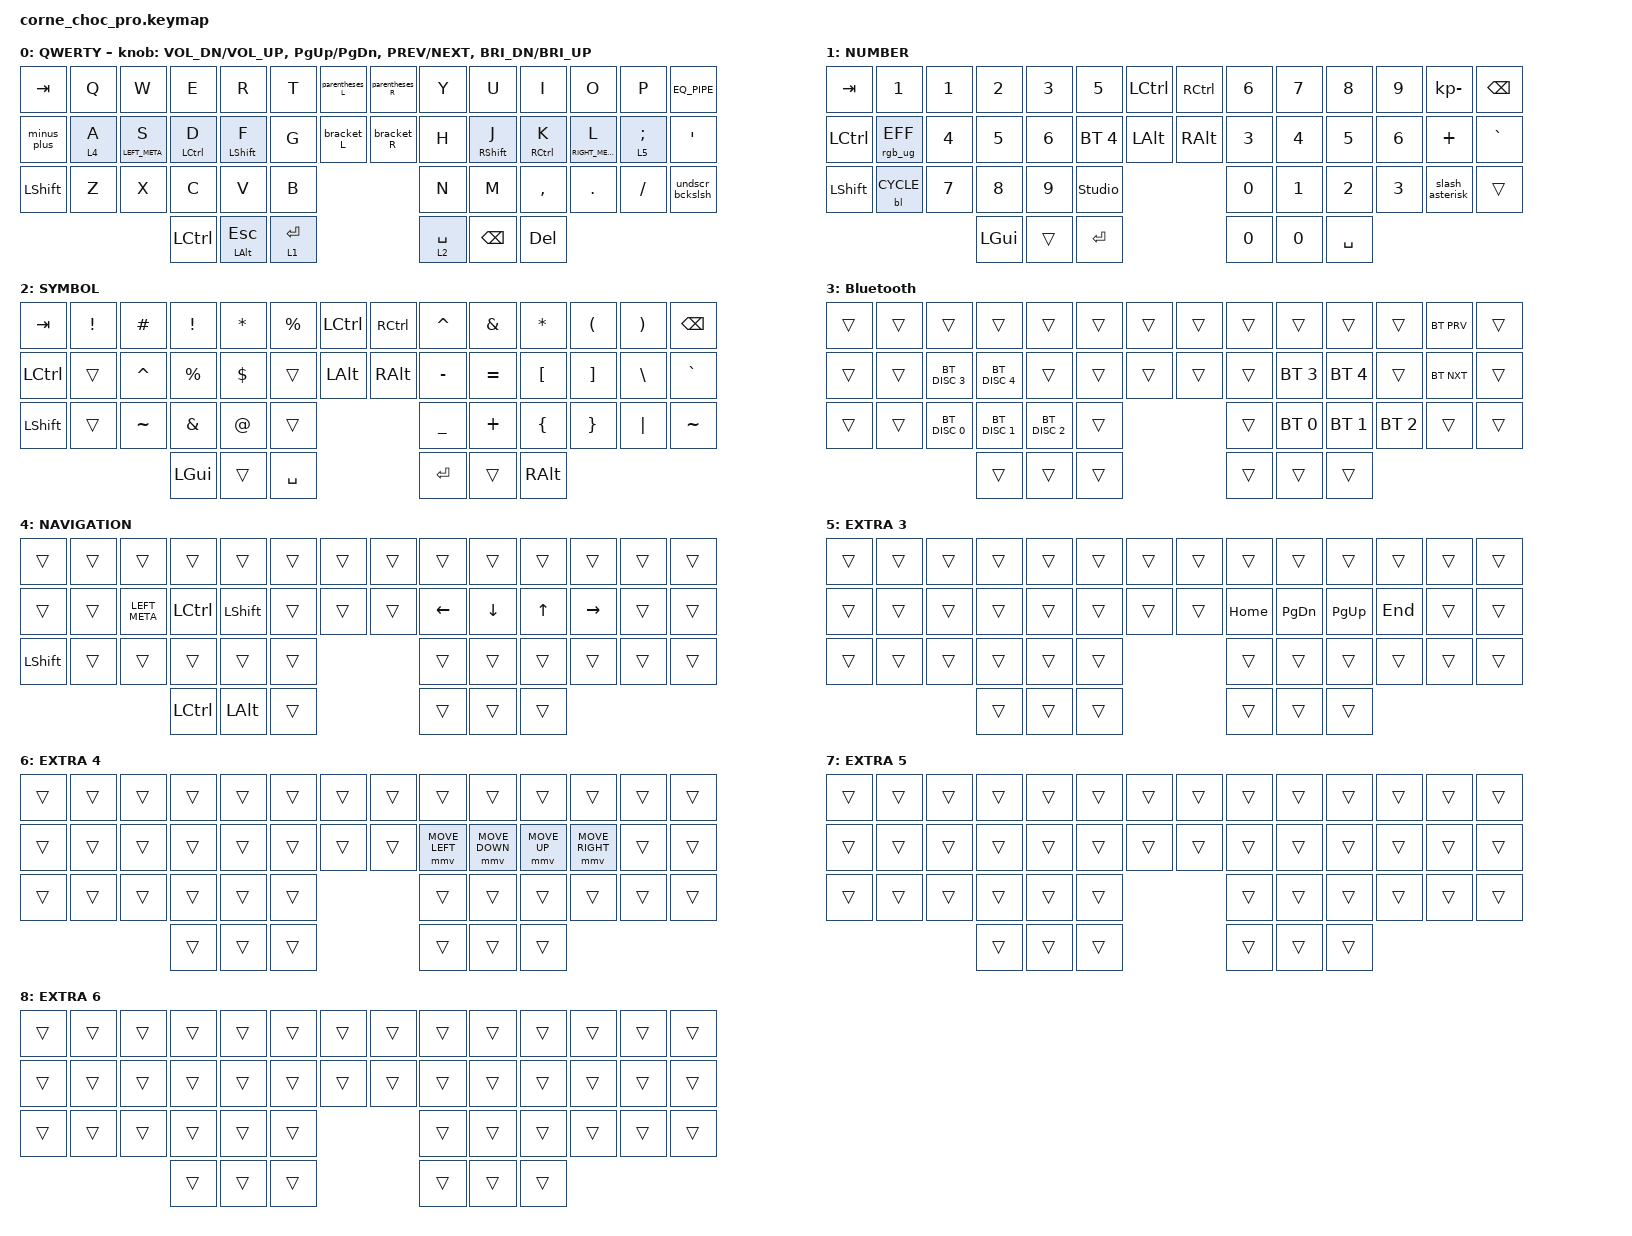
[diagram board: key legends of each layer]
/*
 * Copyright (c) 2020 The ZMK Contributors
 *
 * SPDX-License-Identifier: MIT
 */

#include <behaviors.dtsi>
#include <dt-bindings/zmk/backlight.h>
#include <dt-bindings/zmk/bt.h>
#include <dt-bindings/zmk/keys.h>
#include <dt-bindings/zmk/pointing.h>
#include <dt-bindings/zmk/rgb.h>

/ {
    chosen { zmk,physical-layout = &default_layout; };
};

/ {
    behaviors {
        bracket_L: bracket_L {
            compatible = "zmk,behavior-mod-morph";
            label = "BRACKET_L";
            bindings = <&kp LEFT_BRACKET>, <&kp LEFT_BRACE>;

            #binding-cells = <0>;
            mods = <(MOD_RSFT|MOD_LSFT)>;
        };

        bracket_R: bracket_R {
            compatible = "zmk,behavior-mod-morph";
            label = "BRACKET_R";
            bindings = <&kp RIGHT_BRACKET>, <&kp RIGHT_BRACE>;

            #binding-cells = <0>;
            mods = <(MOD_RSFT|MOD_LSFT)>;
        };

        parentheses_L: parentheses_L {
            compatible = "zmk,behavior-mod-morph";
            label = "PARENTHESES_L";
            bindings = <&kp LEFT_PARENTHESIS>, <&kp LESS_THAN>;

            #binding-cells = <0>;
            mods = <(MOD_RSFT|MOD_LSFT)>;
        };

        parentheses_R: parentheses_R {
            compatible = "zmk,behavior-mod-morph";
            label = "PARENTHESES_R";
            bindings = <&kp RIGHT_PARENTHESIS>, <&kp GREATER_THAN>;

            #binding-cells = <0>;
            mods = <(MOD_RSFT|MOD_LSFT)>;
        };

        minus_plus: minus_plus {
            compatible = "zmk,behavior-mod-morph";
            label = "MINUS_PLUS";
            bindings = <&kp MINUS>, <&kp PLUS>;

            #binding-cells = <0>;
            mods = <(MOD_LSFT|MOD_RSFT)>;
        };

        undscr_bckslsh: undscr_bckslsh {
            compatible = "zmk,behavior-mod-morph";
            label = "UNDSCR_BCKSLSH";
            bindings = <&kp UNDERSCORE>, <&kp BACKSLASH>;

            #binding-cells = <0>;
            mods = <(MOD_LSFT|MOD_RSFT)>;
        };

        EQ_PIPE: EQ_PIPE {
            compatible = "zmk,behavior-mod-morph";
            label = "EQ_PIPE";
            bindings = <&kp EQUAL>, <&kp PIPE>;

            #binding-cells = <0>;
            mods = <(MOD_LSFT|MOD_RSFT)>;
        };

        hm_shift_R: hm_shift_R {
            compatible = "zmk,behavior-hold-tap";
            label = "HM_SHIFT_R";
            bindings = <&kp>, <&kp>;

            #binding-cells = <2>;
            tapping-term-ms = <200>;
            hold-while-undecided;
            hold-trigger-key-positions = <0 1 2 3 4 5 6 14 15 16 17 18 19 20 28 29 30 31 32 33 40 41 42>;
            hold-trigger-on-release;
            flavor = "balanced";
        };

        hm_shift_L: hm_shift_L {
            compatible = "zmk,behavior-hold-tap";
            label = "HM_SHIFT_L";
            bindings = <&kp>, <&kp>;

            #binding-cells = <2>;
            tapping-term-ms = <200>;
            hold-while-undecided;
            hold-trigger-on-release;
            hold-trigger-key-positions = <7 12 13 21 22 23 24 25 26 27 34 35 36 37 38 39 43 44 45 8 9 10 11>;
            flavor = "balanced";
        };

        hm_mod_R: hm_mod_R {
            compatible = "zmk,behavior-hold-tap";
            label = "HM_MOD_R";
            bindings = <&kp>, <&kp>;

            #binding-cells = <2>;
            tapping-term-ms = <250>;
            hold-while-undecided;
            hold-trigger-key-positions = <0 1 2 3 4 5 6 14 15 16 17 18 19 20 28 29 30 31 32 33 40 41 42>;
            hold-trigger-on-release;
            flavor = "tap-preferred";
        };

        hm_mod_L: hm_mod_L {
            compatible = "zmk,behavior-hold-tap";
            label = "HM_MOD_L";
            bindings = <&kp>, <&kp>;

            #binding-cells = <2>;
            tapping-term-ms = <250>;
            hold-while-undecided;
            hold-trigger-on-release;
            hold-trigger-key-positions = <7 12 13 21 22 23 24 25 26 27 34 35 36 37 38 39 43 44 45 8 9 10 11>;
            flavor = "tap-preferred";
        };

        slash_asterisk: slash_asterisk {
            compatible = "zmk,behavior-mod-morph";
            label = "SLASH_ASTERISK";
            bindings = <&kp SLASH>, <&kp ASTERISK>;

            #binding-cells = <0>;
            mods = <(MOD_LSFT|MOD_RSFT)>;
        };

        hm_meta_R: hm_meta_R {
            compatible = "zmk,behavior-hold-tap";
            label = "HM_META_R";
            bindings = <&kp>, <&kp>;

            #binding-cells = <2>;
            tapping-term-ms = <250>;
            hold-trigger-key-positions = <0 1 2 3 4 5 6 14 15 16 17 18 19 20 28 29 30 31 32 33 40 41 42>;
            flavor = "tap-preferred";
        };

        hm_meta_L: hm_meta_L {
            compatible = "zmk,behavior-hold-tap";
            label = "HM_META_L";
            bindings = <&kp>, <&kp>;

            #binding-cells = <2>;
            tapping-term-ms = <300>;
            hold-trigger-key-positions = <7 12 13 21 22 23 24 25 26 27 34 35 36 37 38 39 43 44 45 8 9 10 11>;
            flavor = "tap-preferred";
        };
    };

    combos {
        compatible = "zmk,combos";

        Meta_Space {
            bindings = <&lt 6 TAB>;
            key-positions = <42 43>;
            timeout-ms = <200>;
            layers = <0>;
        };

        Bluetooth {
            bindings = <&mo 3>;
            key-positions = <42 45>;
        };

        Delete_Bluetooth {
            bindings = <&bt BT_CLR>;
            key-positions = <6 7>;
            layers = <3>;
            timeout-ms = <500>;
        };

        Delete_all_BT {
            bindings = <&bt BT_CLR_ALL>;
            key-positions = <0 13>;
            layers = <3>;
            timeout-ms = <500>;
        };
    };

    keymap {
        compatible = "zmk,keymap";

        default_layer {
            display-name = "QWERTY";

            // --------------------------------------------------------------------------------
            // |  TAB |  Q  |  W  |  E  |  R  |  T  |  MUTE |  PP   |  Y  |  U   |  I  |  O  |  P  | BSPC |
            // | CTRL |  A  |  S  |  D  |  F  |  G  |  LALT |  RALT |  H  |  J   |  K  |  L  |  ;  |  '   |
            // | SHFT |  Z  |  X  |  C  |  V  |  B  |               |  N  |  M   |  ,  |  .  |  /  | ESC  |
            //                    | GUI | LWR | SPC |               | ENT | RSE  | ALT |

            bindings = <
&kp TAB      &kp Q    &kp W                   &kp E              &kp R                     &kp T        &parentheses_L  &parentheses_R  &kp Y        &kp U                 &kp I              &kp O                    &kp P            &EQ_PIPE
&minus_plus  &lt 4 A  &hm_meta_L LEFT_META S  &hm_mod_L LCTRL D  &hm_shift_L LEFT_SHIFT F  &kp G        &bracket_L      &bracket_R      &kp H        &hm_shift_R RSHIFT J  &hm_mod_R RCTRL K  &hm_meta_R RIGHT_META L  &lt 5 SEMICOLON  &kp SQT
&kp LSHFT    &kp Z    &kp X                   &kp C              &kp V                     &kp B                                        &kp N        &kp M                 &kp COMMA          &kp DOT                  &kp FSLH         &undscr_bckslsh
                                              &kp LCTRL          &mt LEFT_ALT ESC          &lt 1 ENTER                                  &lt 2 SPACE  &kp BACKSPACE         &kp DEL
            >;

            sensor-bindings = <&inc_dec_kp C_VOL_DN C_VOL_UP &inc_dec_kp PG_UP PG_DN &inc_dec_kp C_PREV C_NEXT &inc_dec_kp C_BRI_DN C_BRI_UP>;
        };

        lower_layer {
            display-name = "NUMBER";

            // -----------------------------------------------------------------------------------------
            // |  TAB |  1  |  2  |  3  |  4  |  5    |  LCTRL | RCTRL |  6  |  7  |  8  |  9  |  0  | BSPC |
            // | CTRL | BT1 | BT2 | BT3 | BT4 | BT5   |  LALT  | RALT  | LFT | DWN |  UP | RGT |     |      |
            // | SHFT | BTCR| RGB | RST | BOOT| Unlock|        |       |     |     |     |     |     |      |
            //                    | GUI |     | SPC   |        | ENT   |     | ALT |

            bindings = <
&kp TAB    &kp N1           &kp NUMBER_1  &kp N2    &kp N3  &kp N5          &kp LCTRL  &kp RCTRL  &kp N6        &kp N7        &kp N8     &kp N9  &kp KP_MINUS     &kp BSPC
&kp LCTRL  &rgb_ug RGB_EFF  &kp N4        &kp N5    &kp N6  &bt BT_SEL 4    &kp LALT   &kp RALT   &kp NUMBER_3  &kp N4        &kp N5     &kp N6  &kp PLUS         &kp GRAVE
&kp LSHFT  &bl BL_CYCLE     &kp N7        &kp N8    &kp N9  &studio_unlock                        &kp N0        &kp N1        &kp N2     &kp N3  &slash_asterisk  &trans
                                          &kp LGUI  &trans  &kp ENTER                             &kp NUMBER_0  &kp NUMBER_0  &kp SPACE
            >;
        };

        raise_layer {
            display-name = "SYMBOL";

            // -----------------------------------------------------------------------------------------
            // |  TAB |  !  |  @  |  #  |  $  |  %  | LCTRL | RCTRL |  ^  |  &  |  *  |  (  |  )  | BSPC |
            // | CTRL |     |     |     |     |     |  LALT | RALT  |  -  |  =  |  [  |  ]  |  \  |  `   |
            // | SHFT |     |     |     |     |     |               |  _  |  +  |  {  |  }  | "|" |  ~   |
            //                    | GUI |     | SPC |               | ENT |     | ALT |

            bindings = <
&kp TAB    &kp EXCL  &kp HASH   &kp EXCLAMATION  &kp ASTERISK  &kp PRCNT  &kp LCTRL  &kp RCTRL  &kp CARET  &kp AMPS   &kp ASTRK  &kp LPAR  &kp RPAR  &kp BSPC
&kp LCTRL  &trans    &kp CARET  &kp PERCENT      &kp DOLLAR    &trans     &kp LALT   &kp RALT   &kp MINUS  &kp EQUAL  &kp LBKT   &kp RBKT  &kp BSLH  &kp GRAVE
&kp LSHFT  &trans    &kp TILDE  &kp AMPERSAND    &kp AT_SIGN   &trans                           &kp UNDER  &kp PLUS   &kp LBRC   &kp RBRC  &kp PIPE  &kp TILDE
                                &kp LGUI         &trans        &kp SPACE                        &kp RET    &trans     &kp RALT
            >;
        };

        BT {
            display-name = "Bluetooth";
            bindings = <
&trans  &trans  &trans         &trans         &trans         &trans  &trans  &trans  &trans  &trans        &trans        &trans        &bt BT_PRV  &trans
&trans  &trans  &bt BT_DISC 3  &bt BT_DISC 4  &trans         &trans  &trans  &trans  &trans  &bt BT_SEL 3  &bt BT_SEL 4  &trans        &bt BT_NXT  &trans
&trans  &trans  &bt BT_DISC 0  &bt BT_DISC 1  &bt BT_DISC 2  &trans                  &trans  &bt BT_SEL 0  &bt BT_SEL 1  &bt BT_SEL 2  &trans      &trans
                               &trans         &trans         &trans                  &trans  &trans        &trans
            >;
        };

        navigation {
            display-name = "NAVIGATION";
            bindings = <
&trans          &trans  &trans         &trans     &trans        &trans  &trans  &trans  &trans    &trans    &trans  &trans     &trans  &trans
&trans          &trans  &kp LEFT_META  &kp LCTRL  &kp LSHIFT    &trans  &trans  &trans  &kp LEFT  &kp DOWN  &kp UP  &kp RIGHT  &trans  &trans
&kp LEFT_SHIFT  &trans  &trans         &trans     &trans        &trans                  &trans    &trans    &trans  &trans     &trans  &trans
                                       &kp LCTRL  &kp LEFT_ALT  &trans                  &trans    &trans    &trans
            >;
        };

        scrolling {
            display-name = "EXTRA 3";
            bindings = <
&trans  &trans  &trans  &trans  &trans  &trans  &trans  &trans  &trans    &trans         &trans       &trans   &trans  &trans
&trans  &trans  &trans  &trans  &trans  &trans  &trans  &trans  &kp HOME  &kp PAGE_DOWN  &kp PAGE_UP  &kp END  &trans  &trans
&trans  &trans  &trans  &trans  &trans  &trans                  &trans    &trans         &trans       &trans   &trans  &trans
                        &trans  &trans  &trans                  &trans    &trans         &trans
            >;
        };

        mouse {
            display-name = "EXTRA 4";
            bindings = <
&trans  &trans  &trans  &trans  &trans  &trans  &trans  &trans  &trans          &trans          &trans        &trans           &trans  &trans
&trans  &trans  &trans  &trans  &trans  &trans  &trans  &trans  &mmv MOVE_LEFT  &mmv MOVE_DOWN  &mmv MOVE_UP  &mmv MOVE_RIGHT  &trans  &trans
&trans  &trans  &trans  &trans  &trans  &trans                  &trans          &trans          &trans        &trans           &trans  &trans
                        &trans  &trans  &trans                  &trans          &trans          &trans
            >;
        };

        extra_layer_5 {
            display-name = "EXTRA 5";
            bindings = <
&trans  &trans  &trans  &trans  &trans  &trans  &trans  &trans  &trans  &trans  &trans  &trans  &trans  &trans
&trans  &trans  &trans  &trans  &trans  &trans  &trans  &trans  &trans  &trans  &trans  &trans  &trans  &trans
&trans  &trans  &trans  &trans  &trans  &trans                  &trans  &trans  &trans  &trans  &trans  &trans
                        &trans  &trans  &trans                  &trans  &trans  &trans
            >;
        };

        extra_layer_6 {
            display-name = "EXTRA 6";
            bindings = <
&trans  &trans  &trans  &trans  &trans  &trans  &trans  &trans  &trans  &trans  &trans  &trans  &trans  &trans
&trans  &trans  &trans  &trans  &trans  &trans  &trans  &trans  &trans  &trans  &trans  &trans  &trans  &trans
&trans  &trans  &trans  &trans  &trans  &trans                  &trans  &trans  &trans  &trans  &trans  &trans
                        &trans  &trans  &trans                  &trans  &trans  &trans
            >;
        };
    };
};
